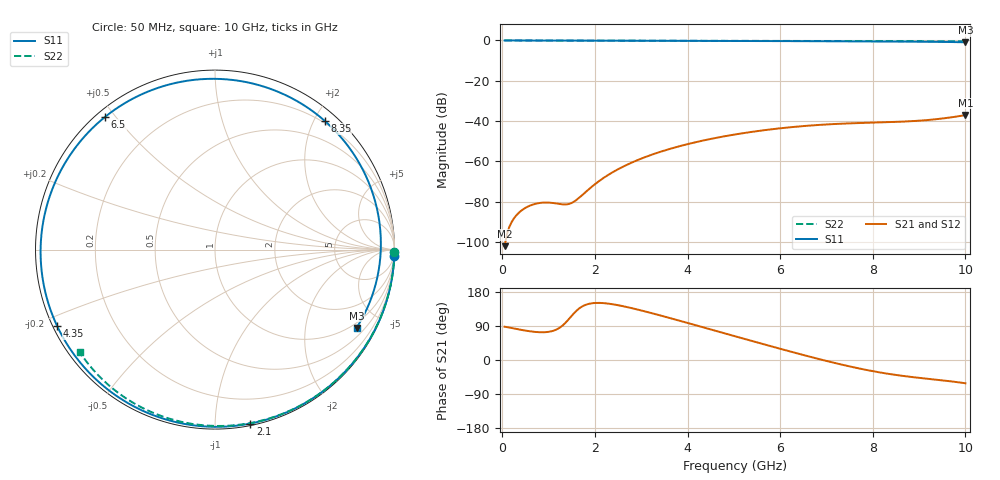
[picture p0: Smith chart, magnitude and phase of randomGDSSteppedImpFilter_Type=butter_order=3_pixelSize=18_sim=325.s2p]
! freq	dB(S11)	phase(S11)	dB(S12)	phase(S12)
!  dB(S21)	phase(S21)	dB(S22)	phase(S22)
!S-par simulation data
#  GHz  S  DB  R 50
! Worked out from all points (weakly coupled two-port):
!   200 points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, 50 MHz to 10 GHz, reference 50 ohm
!   highest |S21| = -37.01 dB at 10 GHz (marker M1); lowest = -102.0 dB at 50 MHz (marker M2)
!   lowest |S11| = -0.9 dB at 10 GHz (marker M3), VSWR 19.19, Z = 40.1 - j186 ohm
!   |S11| at or under -10 dB: nowhere
!   |S22| runs from -0.5 to 0.0 dB; largest |S21 - S12| = 0
!   S11 on the Smith chart (normalised r, x): 50 MHz: 1, -58; 2.1 GHz: 0.01, -1.22; 4.35 GHz: 0.01, -0.23; 6.5 GHz: 0.02, +0.47; 8.35 GHz: 0.17, +2.16; 10 GHz: 0.80, -3.71
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0.05  -0.00 -2.0  -102.00 87.8  -102.00 87.8  -0.00 -0.8
0.4  -0.02 -15.5  -84.58 79.7  -84.58 79.7  -0.01 -6.6
0.75  -0.03 -28.9  -80.82 73.7  -80.82 73.7  -0.01 -12.4
1.55  -0.07 -58.8  -79.90 123.7  -79.90 123.7  -0.03 -25.3
1.75  -0.08 -66.0  -76.17 142.9  -76.17 142.9  -0.04 -28.5
2.1  -0.10 -78.5  -69.55 150.7  -69.55 150.7  -0.04 -34.1
2.65  -0.12 -97.6  -62.10 140.9  -62.10 140.9  -0.06 -42.7
3.4  -0.15 -122.9  -55.31 118.0  -55.31 118.0  -0.07 -54.2
3.9  -0.18 -139.4  -51.99 101.2  -51.99 101.2  -0.08 -61.7
4.35  -0.20 -154.3  -49.55 85.9  -49.55 85.9  -0.10 -68.3
5.05  -0.25 -177.7  -46.52 61.8  -46.52 61.8  -0.12 -78.3
5.8  -0.30 156.0  -44.08 36.3  -44.08 36.3  -0.15 -88.7
6.5  -0.35 129.6  -42.45 13.2  -42.45 13.2  -0.18 -98.1
6.7  -0.37 121.7  -42.10 6.8  -42.10 6.8  -0.19 -100.8
7.15  -0.41 103.2  -41.46 -7.0  -41.46 -7.0  -0.22 -106.6
7.55  -0.44 85.9  -41.06 -18.3  -41.06 -18.3  -0.25 -111.8
7.95  -0.47 68.0  -40.76 -28.3  -40.76 -28.3  -0.28 -116.9
8.35  -0.51 49.6  -40.50 -36.7  -40.50 -36.7  -0.31 -122.0
8.8  -0.57 28.3  -40.07 -44.3  -40.07 -44.3  -0.35 -127.7
9.2  -0.64 9.3  -39.42 -49.8  -39.42 -49.8  -0.39 -132.7
9.6  -0.75 -9.8  -38.41 -55.1  -38.41 -55.1  -0.44 -137.7
10  -0.91 -28.9  -37.01 -61.4  -37.01 -61.4  -0.48 -142.7
